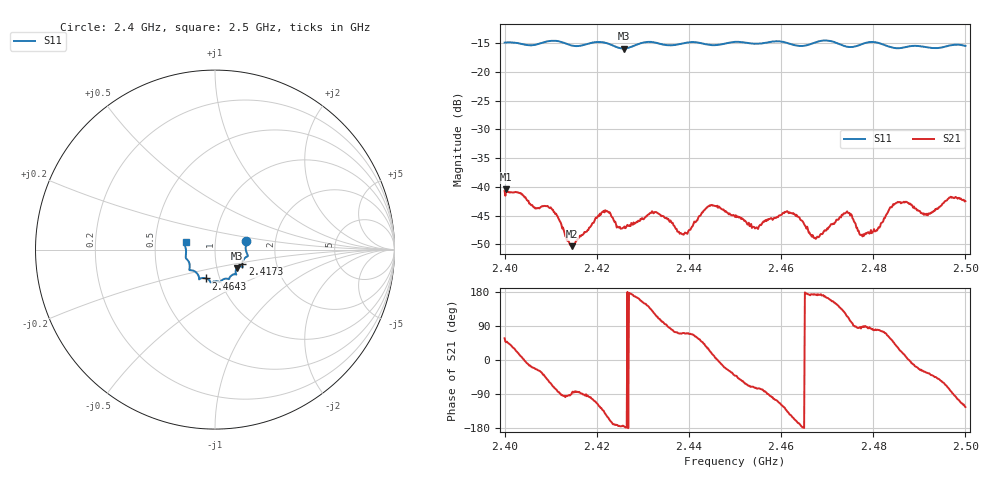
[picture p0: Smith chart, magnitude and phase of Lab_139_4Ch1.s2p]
# Hz S RI R 50
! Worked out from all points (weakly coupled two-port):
!   601 points, 2.4 GHz to 2.5 GHz, reference 50 ohm
!   highest |S21| = -40.43 dB at 2.4003 GHz (marker M1); lowest = -50.3 dB at 2.4147 GHz (marker M2)
!   lowest |S11| = -15.9 dB at 2.4258 GHz (marker M3), VSWR 1.38, Z = 62.3 - j13.3 ohm
!   |S11| at or under -10 dB: start of sweep to end of sweep
!   S12 and S22 are empty: the file has one direction only
!   S11 on the Smith chart (normalised r, x): 2.4 GHz: 1.41, +0.14; 2.4173 GHz: 1.34, -0.23; 2.4643 GHz: 0.86, -0.28; 2.5 GHz: 0.72, +0.06
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2.4e9  0.1737 0.0487  0.00497 0.00775  0 0  0 0
2.400333e9  0.174 0.0473  0.00649 0.00696  0 0  0 0
2.41e9  0.1836 -0.0333  0.00319 -0.00583  0 0  0 0
2.414667e9  0.1616 -0.0523  0.00028 -0.00304  0 0  0 0
2.416667e9  0.1529 -0.0743  0.00011 -0.00381  0 0  0 0
2.417333e9  0.1521 -0.0819  -0.000158 -0.00406  0 0  0 0
2.421667e9  0.1529 -0.0958  -0.00452 -0.00396  0 0  0 0
2.425833e9  0.1221 -0.1037  -0.00441 -0.000441  0 0  0 0
2.433333e9  0.1127 -0.1374  -0.00203 0.0055  0 0  0 0
2.4385e9  0.081 -0.1569  0.00132 0.00365  0 0  0 0
2.4445e9  0.0597 -0.1616  0.00632 0.00281  0 0  0 0
2.45e9  0.0283 -0.1808  0.00412 -0.00364  0 0  0 0
2.4545e9  0.00604 -0.1761  0.00129 -0.00421  0 0  0 0
2.461e9  -0.0266 -0.1789  -0.00395 -0.00458  0 0  0 0
2.464333e9  -0.05 -0.1608  -0.00511 -0.000547  0 0  0 0
2.466667e9  -0.0762 -0.1593  -0.00367 0.000425  0 0  0 0
2.474333e9  -0.1002 -0.1324  -0.0026 0.00556  0 0  0 0
2.478e9  -0.1351 -0.1154  0.000211 0.00376  0 0  0 0
2.483333e9  -0.1407 -0.0897  0.00293 0.00549  0 0  0 0
2.487e9  -0.1552 -0.056  0.00732 0.00126  0 0  0 0
2.491833e9  -0.1615 -0.027  0.00465 -0.00322  0 0  0 0
2.5e9  -0.1633 0.0427  -0.00422 -0.00622  0 0  0 0
